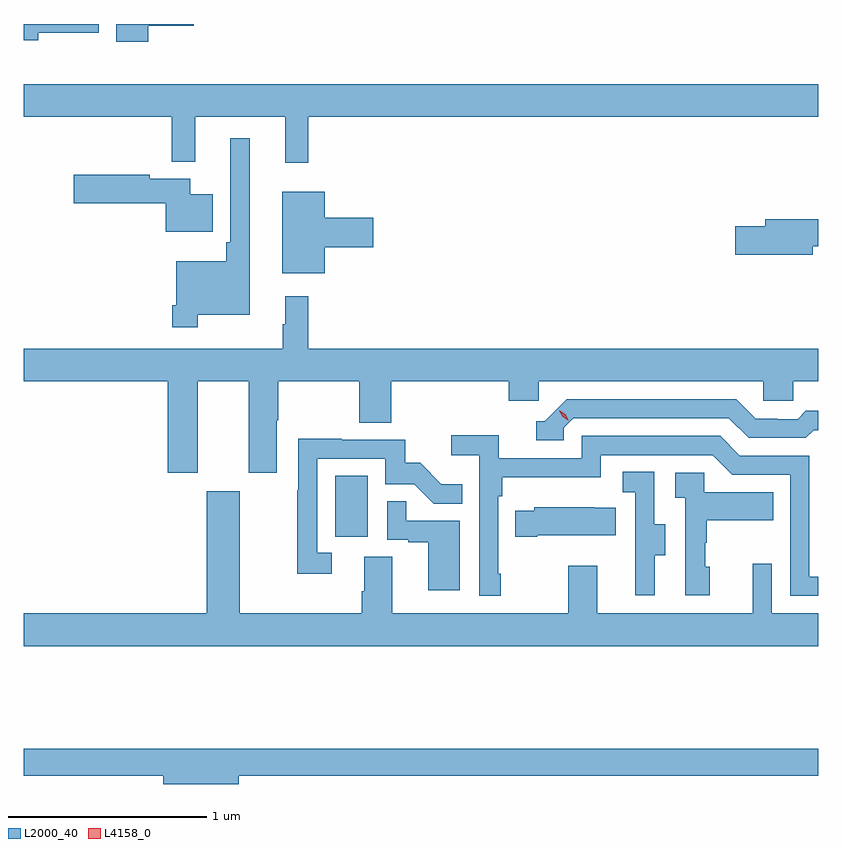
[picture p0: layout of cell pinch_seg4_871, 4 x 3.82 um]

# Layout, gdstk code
import gdstk
lib = gdstk.Library(unit=1e-6, precision=1e-09)
def R(c, l, rs):  # rectangles x0, y0, x1, y1
    for r in rs: c.add(gdstk.rectangle(r[:2], r[2:], *l))
def P(c, l, *ps):  # polygons
    for p in ps: c.add(gdstk.Polygon(p, *l))
L2000_40 = (2000, 40)
L4158_0 = (4158, 0)

pinch_seg4_871 = lib.new_cell('pinch_seg4_871')
R(pinch_seg4_871, L2000_40, [(887.708,793.374,887.872,793.681)])
P(pinch_seg4_871, L2000_40, [(886.213,795.91),(886.518,795.91),(886.518,795.954),(886.14,795.954),(886.14,795.872),(886.213,795.872)],
  [(886.768,795.946),(886.996,795.946),(886.996,795.954),(886.607,795.954),(886.607,795.864),(886.768,795.864)],
  [(887.573,795.488),(890.14,795.488),(890.14,795.652),(886.14,795.652),(886.14,795.488),(886.885,795.488),(886.885,795.26),(887.003,795.26),(887.003,795.488),(887.456,795.488),(887.456,795.255),(887.573,795.255)],
  [(887.017,794.492),(887.278,794.492),(887.278,795.379),(887.181,795.379),(887.181,794.857),(887.161,794.857),(887.161,794.761),(886.908,794.761),(886.908,794.539),(886.888,794.539),(886.888,794.427),(887.017,794.427)],
  [(887.092,795.097),(886.978,795.097),(886.978,795.175),(886.776,795.175),(886.776,795.195),(886.392,795.195),(886.392,795.053),(886.856,795.053),(886.856,794.909),(887.092,794.909)],
  [(887.656,794.831),(887.899,794.831),(887.899,794.978),(887.656,794.978),(887.656,795.109),(887.441,795.109),(887.441,794.699),(887.656,794.699)],
  [(890.11,794.836),(890.14,794.836),(890.14,794.972),(889.871,794.972),(889.871,794.936),(889.722,794.936),(889.722,794.794),(890.11,794.794)],
  [(887.017,794.156),(887.273,794.156),(887.273,793.695),(887.413,793.695),(887.413,793.96),(887.421,793.96),(887.421,794.156),(887.83,794.156),(887.83,793.948),(887.99,793.948),(887.99,794.156),(888.581,794.156),(888.581,794.058),(888.732,794.058),(888.732,794.156),(889.863,794.156),(889.863,794.058),(890.013,794.058),(890.013,794.156),(890.14,794.156),(890.14,794.32),(887.573,794.32),(887.573,794.584),(887.456,794.584),(887.456,794.444),(887.445,794.444),(887.445,794.32),(886.14,794.32),(886.14,794.156),(886.865,794.156),(886.865,793.695),(887.017,793.695)],
  [(888.858,793.923),(888.906,793.971),(889.689,793.971),(889.788,793.872),(890.077,793.872),(890.116,793.911),(890.14,793.911),(890.14,794.008),(890.077,794.008),(890.035,793.965),(889.932,793.965),(889.932,793.968),(889.825,793.968),(889.726,794.067),(888.873,794.067),(888.762,793.956),(888.719,793.956),(888.719,793.86),(888.858,793.86)],
  [(888.541,793.189),(888.528,793.189),(888.528,793.577),(888.548,793.577),(888.548,793.673),(889.044,793.673),(889.044,793.785),(889.608,793.785),(889.707,793.686),(889.998,793.686),(889.998,793.077),(890.14,793.077),(890.14,793.173),(890.094,793.173),(890.094,793.782),(889.744,793.782),(889.645,793.881),(888.948,793.881),(888.948,793.77),(888.53,793.77),(888.53,793.886),(888.291,793.886),(888.291,793.784),(888.432,793.784),(888.432,793.077),(888.541,793.077)],
  [(887.692,793.293),(887.619,793.293),(887.619,793.767),(887.961,793.767),(887.961,793.638),(888.105,793.638),(888.203,793.54),(888.347,793.54),(888.347,793.639),(888.243,793.639),(888.136,793.746),(888.06,793.746),(888.06,793.863),(887.741,793.863),(887.741,793.868),(887.523,793.868),(887.523,793.607),(887.518,793.607),(887.518,793.188),(887.692,793.188)],
  [(889.315,793.282),(889.369,793.282),(889.369,793.437),(889.314,793.437),(889.314,793.7),(889.155,793.7),(889.155,793.597),(889.218,793.597),(889.218,793.293),(889.217,793.293),(889.217,793.08),(889.315,793.08)],
  [(889.594,793.224),(889.569,793.224),(889.569,793.343),(889.579,793.343),(889.579,793.457),(889.913,793.457),(889.913,793.597),(889.566,793.597),(889.566,793.695),(889.419,793.695),(889.419,793.571),(889.47,793.571),(889.47,793.08),(889.594,793.08)],
  [(890.14,792.988),(889.905,792.988),(889.905,793.237),(889.808,793.237),(889.808,792.988),(889.027,792.988),(889.027,793.228),(888.88,793.228),(888.88,792.988),(887.995,792.988),(887.995,793.274),(887.855,793.274),(887.855,793.1),(887.843,793.1),(887.843,792.988),(887.227,792.988),(887.227,793.603),(887.063,793.603),(887.063,792.988),(886.14,792.988),(886.14,792.824),(890.14,792.824)],
  [(888.334,793.455),(888.065,793.455),(888.065,793.553),(887.97,793.553),(887.97,793.359),(888.077,793.359),(888.077,793.347),(888.176,793.347),(888.176,793.104),(888.334,793.104)],
  [(888.724,793.382),(889.121,793.382),(889.121,793.519),(889.013,793.519),(889.013,793.522),(888.711,793.522),(888.711,793.504),(888.613,793.504),(888.613,793.375),(888.724,793.375)],
  [(887.224,792.172),(890.14,792.172),(890.14,792.308),(886.14,792.308),(886.14,792.172),(886.844,792.172),(886.844,792.13),(887.224,792.13)])
P(pinch_seg4_871, L4158_0, [(888.883,793.958),(888.852,793.977),(888.835,794.009),(888.835,794.01),(888.836,794.01),(888.866,793.99),(888.883,793.958),(888.883,793.958)])

lib.write_gds('pinch_seg4_871.gds')
